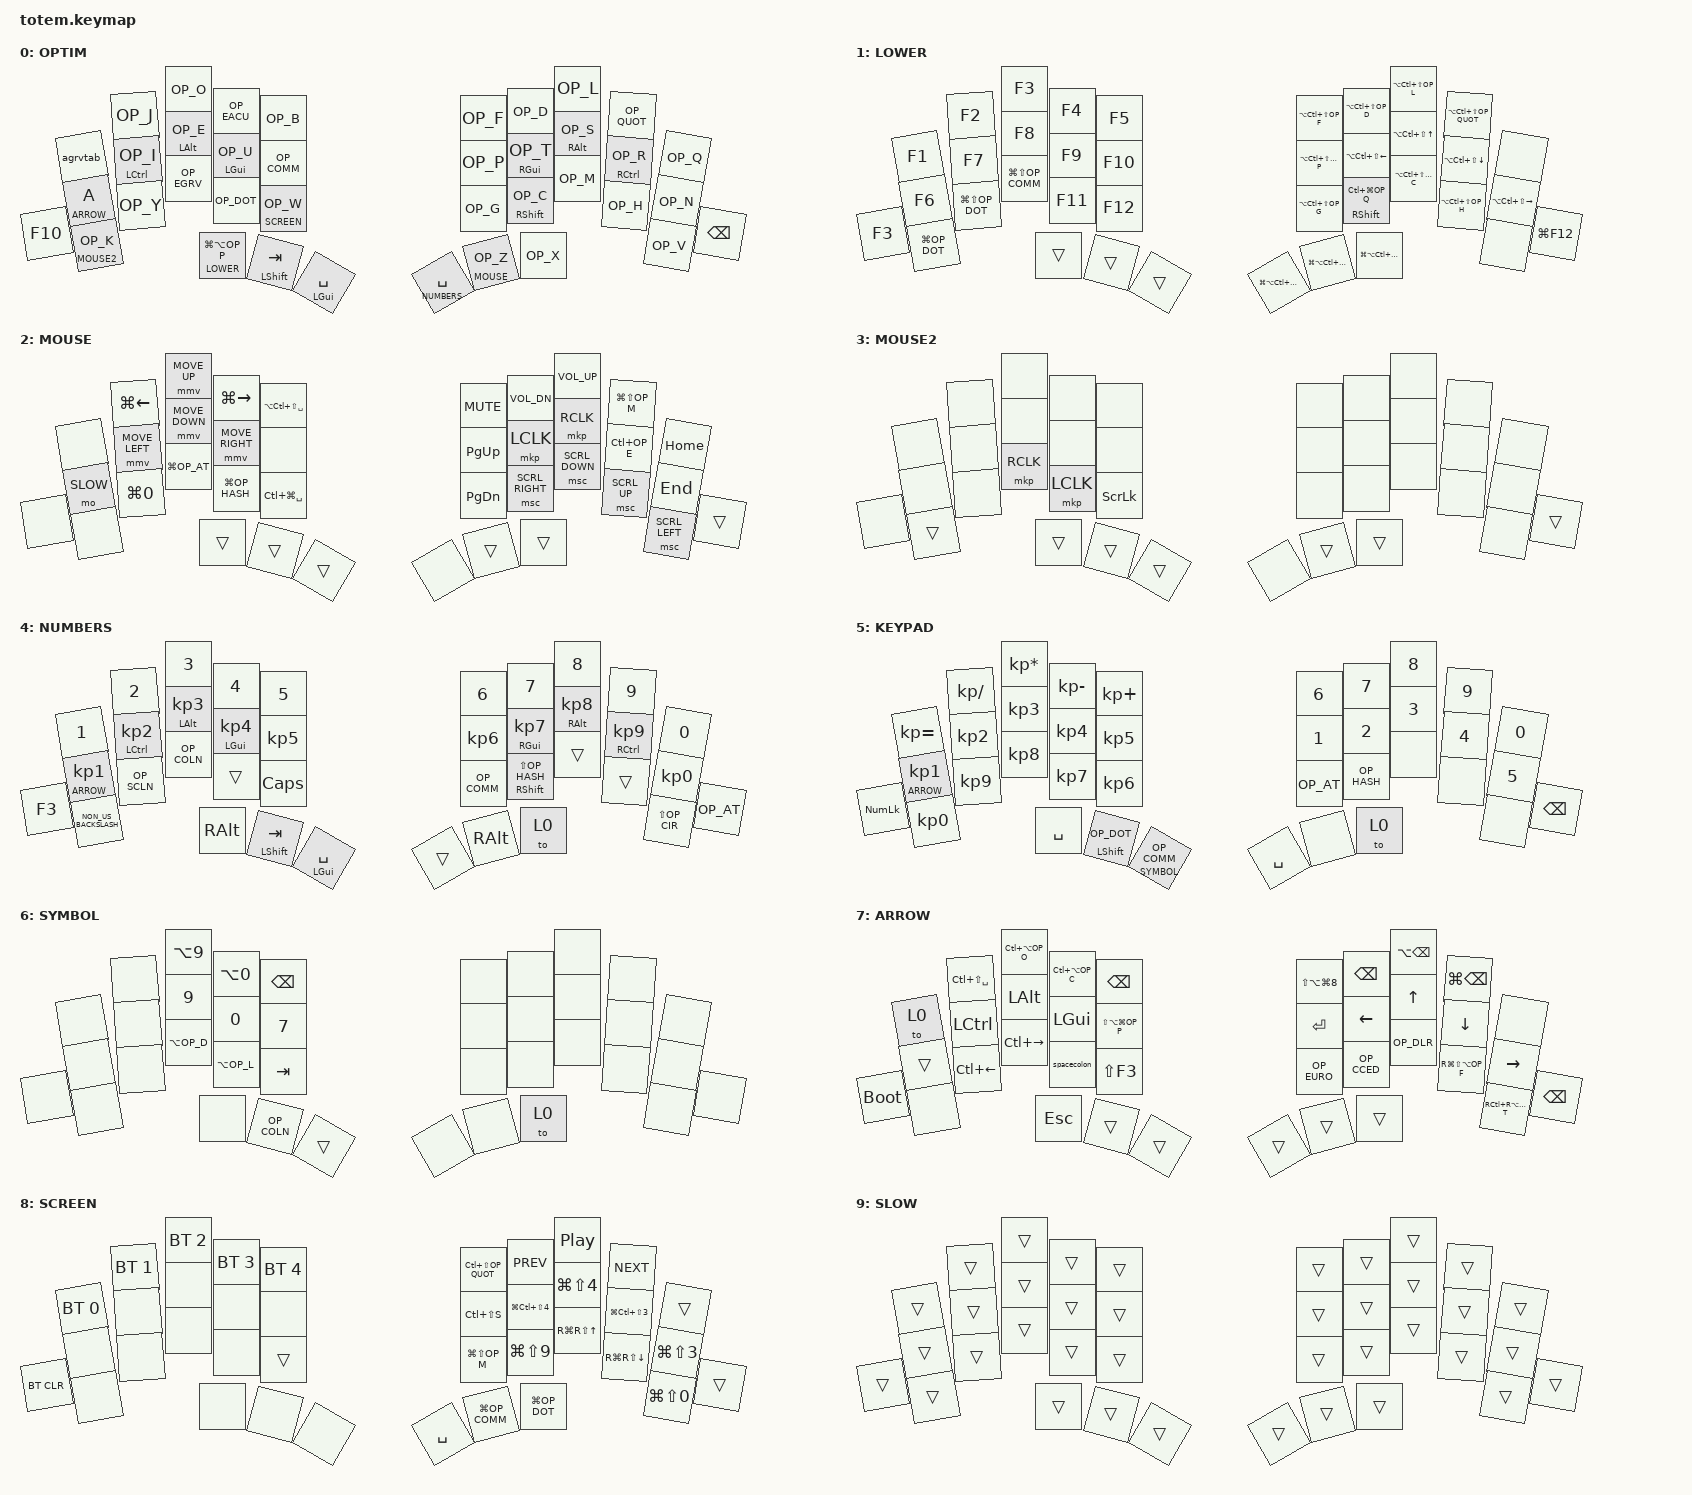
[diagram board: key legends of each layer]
//
//                                                        ▀▀▀▀▀     ▀▀▀▀▀          ▀▀█▀▀
//                                                        ▄▀▀▀▄  ▄  ▄▀▀▀▄  ▄  ▄▀▀▀▄  █  ▄▀▀▀▄
//                                                        █   █  █  █   █  █  █   █  █  █   █
//                                                         ▀▀▀   █   ▀▀▀   █   ▀▀▀   ▀   ▀▀▀
//                                                               █      ▄▄▄█▄▄▄    █   █  
//                                                               ▀      █  █  █     █▄█
//                                                             ▀▀▀▀▀    █  █  █      ▀
//                                                                      ▀  ▀  ▀
//
// ▄▄▄▄▄▄▄▄▄▄▄▄▄▄▄▄▄▄▄▄▄▄▄▄▄▄▄▄▄▄▄▄▄▄▄▄▄▄▄▄▄▄▄▄▄▄▄▄▄▄▄▄▄▄▄▄▄▄▄▄▄▄▄▄▄▄▄▄▄▄▄▄▄▄▄▄▄▄▄▄▄▄▄▄▄▄▄▄▄▄▄▄▄▄▄▄▄▄▄▄▄▄▄▄▄▄▄▄▄▄▄▄▄▄▄▄▄▄▄▄▄▄▄▄▄▄▄▄▄▄▄▄▄▄▄▄▄▄▄▄▄▄▄▄▄▄▄▄▄
       

#include <behaviors.dtsi>
#include <dt-bindings/zmk/keys.h>
#include <dt-bindings/zmk/bt.h>
#include <dt-bindings/zmk/outputs.h>
#include "mouse.dtsi"
#include <input/processors.dtsi>
#include "keymap_optimot.h"

//APPLICATIONS SHORCUTS
    //Omniplan
    #define OMNIPLIDENTR LG(LS(N0))
    #define OMNIPLIDENTL LG(LS(N9))
    //1Password
    #define ONEPWDQUICK LS(LA(LG(OP_P)))
    //Raycast
    #define CLIPB_HIST LG(LA(OP_P))
    #define RAYCPNAME  LG(OP_DOT)
    #define RAYCPPHONE LG(LS(OP_DOT))
    #define RAYCPMAIL  LG(LS(OP_COMM))
    #define NEWRAYNOTE LA(LG(LS(OP_N)))
    #define RAYEMOJI   LC(LG(SPACE))
    #define RAYSRCHAPPMENU LS(LA(LG(N8)))
    //Outlook
    #define OUTLKARCHMAIL LC(OP_E)
    #define OUTLKFILEMAIL LG(LS(OP_M))
    #define OUTLKNEWMAINWINDOW LA(LG(LS(OP_N)))
    //MS Office
    #define CASECYCLE LS(F3)
    //MS Teams
    #define TEAMSMUTE LG(LS(OP_M))
    //TextExpander
    #define TEXTEXOFF RC(RA(LS(RG(OP_T))))
    #define TEXTEXSEARCH RG(LS(LA(OP_F)))
    //Hook
    #define HOOKCPYLK   LG(LC(LA(SPACE)))
    #define HOOKCPYMDLK LS(LA(LG(SPACE)))
    #define HOOKTOLINK  LC(LS(LG(SPACE)))
    #define HOOK        LG(LS(SPACE))
    //MACOS
    #define HIDEWINDOW LG(OP_M)


#define OPTIM   0
#define LOWER   1
#define MOUSE   2
#define MOUSE2  3
#define NUMBERS 4
#define KEYPAD  5
#define SYMBOL  6
#define ARROW   7
#define SCREEN  8
#define SLOW    9  // maintenu depuis MOUSE : déplacements/défilement souris ralentis

// Mode précision : tant que le calque SLOW est actif, mouvements x1/4 et défilement x1/3
&mmv_input_listener {
    slow_move {
        layers = <SLOW>;
        input-processors = <&zip_xy_scaler 1 4>;
    };
};
&msc_input_listener {
    slow_scroll {
        layers = <SLOW>;
        input-processors = <&zip_scroll_scaler 1 3>;
    };
};


/*                KEY POSITIONS TOTEM

       ╭───────────────────╮ ╭────────────────────╮
       │ 0   1   2   3   4 │ │  5   6   7   8   9 │
  ╭────╯10  11  12  13  14 │ │ 15  16  17  18  19 ╰───╮
  │ 20  21  22  23  24  25 │ │ 26  27  28  29  30  31 │
  ╰──────────╮  32  33  34 │ │ 35  36  37 ╭───────────╯
             ╰─────────────╯ ╰────────────╯            */

// debounced, disabled for totem, to enable if necessary. Update 18/11/2024 : getting double letters with Ambiants switches, activating the debounce to mitigate.
&kscan0 { debounce-press-ms = <17>;
          debounce-release-ms = <17>;
        };

/ {
    macros {
//        q_minuscule: q_minuscule {
//            label = "ZM_q_minuscul";
//            compatible = "zmk,behavior-macro";
//            //wait-ms = <40>;
//            tap-ms = <40>;
//            #binding-cells = <0>;
//            bindings
//                = <&macro_tap &kp CAPS>
//                , <&macro_press &kp LSHFT>
//                , <&macro_tap &kp OP_Q>
//                , <&macro_release &kp LSHFT>
//                , <&macro_tap &kp CAPS>
//                ;
//        };
//        q_maj: q_maj {
//            label = "ZM_q_maj";
//            compatible = "zmk,behavior-macro";
//            //wait-ms = <40>;
//            tap-ms = <40>;
//            #binding-cells = <0>;
//            bindings
//                = <&macro_tap &kp CAPS>
//                , <&macro_tap &kp OP_Q>
//                , <&macro_tap &kp CAPS>
//                ;
//        };
        win_list: win_list {
            label = "Current App Window list in Contexts App";
            compatible = "zmk,behavior-macro";
            tap-ms = <40>;
            #binding-cells = <0>;
            bindings
                = <&macro_press &mo ARROW &kp LGUI>
                , <&macro_tap &kp OP_QUOT>
                , <&macro_pause_for_release>
                , <&macro_release &mo ARROW &kp LGUI>
                ;
        };
        apps_list: apps_list {
            label = "All Apps Window list in Contexts App";
            compatible = "zmk,behavior-macro";
            tap-ms = <40>;
            #binding-cells = <0>;
            bindings
                = <&macro_press &mo ARROW &kp LGUI>
                , <&macro_tap &kp TAB>
                , <&macro_pause_for_release>
                , <&macro_release &mo ARROW &kp LGUI>
                ;
        };
        spacecolon: spacecolon {
            label = "Espace insécable + :";
            compatible = "zmk,behavior-macro";
            tap-ms = <40>;
            #binding-cells = <0>;
            bindings
                = <&macro_press &kp LSHFT>
                , <&macro_tap &kp SPACE>
                , <&macro_tap &kp OP_DOT>
                , <&macro_tap &kp SPACE>
                , <&macro_release &kp LSHFT>
                ;
        };
    };
};

#include "combos.dtsi" // This include **has** to be made **after** the layers' and combo define, else it won't compile.
// #include "combos2.dtsi" // This include **has** to be made **after** the layers' and combo define, else it won't compile. 05/03/2025 disabled, had issues, and anyways it was not making the combo easier to use.


//Existing Behavior modifications :
//    &mt {
//    hold-while-undecided; //faster mod, used for CMD on left thumb key.
//    };

// Key position groups
#define KEYS_L 0 1 2 3 4 10 11 12 13 14 20 21 22 23 24 25 
#define KEYS_R 5 6 7 8 9 15 16 17 18 19 26 27 28 29 30 31  
#define KEYS_L_SPECIAL 0
#define THUMBS_L 32 33 34
#define THUMB_L_SPECIAL 33
#define THUMBS_R 35 36 37


/*                KEY POSITIONS TOTEM

       ╭───────────────────╮ ╭────────────────────╮
       │ 0   1   2   3   4 │ │  5   6   7   8   9 │
  ╭────╯10  11  12  13  14 │ │ 15  16  17  18  19 ╰───╮
  │ 20  21  22  23  24  25 │ │ 26  27  28  29  30  31 │
  ╰──────────╮  32  33  34 │ │ 35  36  37 ╭───────────╯
             ╰─────────────╯ ╰────────────╯            */


/ {
    behaviors {
        hml: homerow_mods_l {
            compatible = "zmk,behavior-hold-tap";
            label = "ALPHA_MT_L";
            #binding-cells = <2>;
            tapping-term-ms = <250>;
            quick-tap-ms = <150>;
            flavor = "tap-preferred";
            bindings = <&kp>, <&kp>;
            //global-quick-tap-ms = <150>;
            require-prior-idle-ms = <100>;
            hold-trigger-key-positions = <KEYS_R KEYS_L_SPECIAL THUMBS_R THUMB_L_SPECIAL>;
            hold-trigger-on-release;
        };
        hmr: homerow_mods_r {
            compatible = "zmk,behavior-hold-tap";
            label = "ALPHA_MT_R";
            #binding-cells = <2>;
            tapping-term-ms = <250>;
            quick-tap-ms = <150>;
            flavor = "tap-preferred";
            bindings = <&kp>, <&kp>;
            //global-quick-tap-ms = <150>;
            require-prior-idle-ms = <125>;
            hold-trigger-key-positions = <KEYS_L THUMBS_L>;
            hold-trigger-on-release;
        };
        hsl: homerow_shift_l {
            compatible = "zmk,behavior-hold-tap";
            label = "ALPHA_SFT_L";
            #binding-cells = <2>;
            tapping-term-ms = <200>;
            quick-tap-ms = <150>;
            flavor = "hold-preferred";
            bindings = <&kp>, <&kp>;
            hold-trigger-key-positions = <KEYS_R KEYS_L THUMBS_R>;
            //hold-trigger-on-release;
        };
        hsr: homerow_shift_r {
            compatible = "zmk,behavior-hold-tap";
            label = "ALPHA_SFT_R";
            #binding-cells = <2>;
            tapping-term-ms = <200>;
            quick-tap-ms = <100>;
            flavor = "tap-preferred";
            bindings = <&kp>, <&kp>;
            hold-trigger-key-positions = <KEYS_L THUMBS_L>;
        };   
        hlr: homerow_layer_r {
            compatible = "zmk,behavior-hold-tap";
            label = "HOMEROW_LAYER_R";
            #binding-cells = <2>;
            tapping-term-ms = <200>;
            quick-tap-ms = <150>;
            flavor = "tap-preferred";
            bindings = <&mo>, <&kp>;
            require-prior-idle-ms = <125>;
            hold-trigger-key-positions = <KEYS_L THUMBS_L>;
            hold-trigger-on-release;
        };
        hll: homerow_layer_l {
            compatible = "zmk,behavior-hold-tap";
            label = "HOMEROW_LAYER_L";
            #binding-cells = <2>;
            tapping-term-ms = <200>; // switched from 300 to 200, getting too much "af" instead of "@" (layer not triggered)
            quick-tap-ms = <150>; //trying to see what gives with 0 instead of 150 => not kept.
            flavor = "tap-preferred";
            bindings = <&mo>, <&kp>;
            require-prior-idle-ms = <125>;
            hold-trigger-key-positions = <KEYS_R THUMBS_L THUMBS_R>;
            hold-trigger-on-release;
        };
        agrvtab: agrave_tab {
            compatible = "zmk,behavior-mod-morph";
            #binding-cells = <0>;
            bindings = <&kp OP_AGRV>, <&kp TAB>;
            mods = <(MOD_LGUI|MOD_RGUI)>;
            keep-mods = <(MOD_LGUI|MOD_RGUI)>;
        };
    };



/*                KEY POSITIONS TOTEM

       ╭───────────────────╮ ╭────────────────────╮
       │ 0   1   2   3   4 │ │  5   6   7   8   9 │
  ╭────╯10  11  12  13  14 │ │ 15  16  17  18  19 ╰───╮
  │ 20  21  22  23  24  25 │ │ 26  27  28  29  30  31 │
  ╰──────────╮  32  33  34 │ │ 35  36  37 ╭───────────╯
             ╰─────────────╯ ╰────────────╯            */


        keymap {
                compatible = "zmk,keymap";
// ▄▄▄▄▄▄▄▄▄▄▄▄▄▄▄▄▄▄▄▄▄▄▄▄▄▄▄▄▄▄▄▄▄▄▄▄▄▄▄▄▄▄▄▄▄▄▄▄▄▄▄▄▄▄▄▄▄▄▄▄▄▄▄▄▄▄▄▄▄▄▄▄▄▄▄▄▄▄▄▄▄▄▄▄▄▄▄▄▄▄▄▄▄▄▄▄▄▄▄▄▄▄▄▄▄▄▄▄▄▄▄▄▄▄▄▄▄▄▄▄▄▄▄▄▄▄▄▄▄▄▄▄▄▄▄▄▄▄▄▄▄▄▄▄▄▄▄▄▄

                default_layer {
// ┏━━━━━━━━━━━━━━━━━━━━━━━━━━━━━━━━━━━━━━━┓
    display-name = "OPTIM"                 ;
// ┗━━━━━━━━━━━━━━━━━━━━━━━━━━━━━━━━━━━━━━━┛
//             ┏━━━━━━━━━━━┳━━━━━━━━━━━┳━━━━━━━━━━━┳━━━━━━━━━━━┳━━━━━━━━━━━┓   ┏━━━━━━━━━━━┳━━━━━━━━━━━┳━━━━━━━━━━━┳━━━━━━━━━━━┳━━━━━━━━━━━┓
//             ┃     Q     ┃     W     ┃     F     ┃     P     ┃     G     ┃   ┃     J     ┃     L     ┃     U     ┃     Y     ┃     ;     ┃
//             ┣━━━━━━━━━━━╋━━━━━━━━━━━╋━━━━━━━━━━━╋━━━━━━━━━━━╋━━━━━━━━━━━┫   ┣━━━━━━━━━━━╋━━━━━━━━━━━╋━━━━━━━━━━━╋━━━━━━━━━━━╋━━━━━━━━━━━┫
//             ┃     A     ┃     R     ┃     S     ┃     T     ┃     D     ┃   ┃     H     ┃     N     ┃     E     ┃     I     ┃     O     ┃
// ┏━━━━━━━━━━━╋━━━━━━━━━━━╋━━━━━━━━━━━╋━━━━━━━━━━━╋━━━━━━━━━━━╋━━━━━━━━━━━┫   ┣━━━━━━━━━━━╋━━━━━━━━━━━╋━━━━━━━━━━━╋━━━━━━━━━━━╋━━━━━━━━━━━╋━━━━━━━━━━━┓
// ┃     Q     ┃     Z     ┃     X     ┃     C     ┃     V     ┃     B     ┃   ┃     K     ┃     M     ┃     ,     ┃     .     ┃     /     ┃     \     ┃
// ┗━━━━━━━━━━━┻━━━━━━━━━━━┻━━━━━━━━━━━╋━━━━━━━━━━━╋━━━━━━━━━━━╋━━━━━━━━━━━┫   ┣━━━━━━━━━━━╋━━━━━━━━━━━╋━━━━━━━━━━━╋━━━━━━━━━━━┻━━━━━━━━━━━┻━━━━━━━━━━━┛
//                                     ┃    DEL    ┃    TAB    ┃    SPC    ┃   ┃   ENTER   ┃           ┃   BSPC    ┃
//                                     ┗━━━━━━━━━━━┻━━━━━━━━━━━┻━━━━━━━━━━━┛   ┗━━━━━━━━━━━┻━━━━━━━━━━━┻━━━━━━━━━━━┛
 bindings = <   
               &agrvtab         &kp OP_J        &kp OP_O             &kp OP_EACU    &kp OP_B                 &kp OP_F           &kp OP_D        &kp OP_L        &kp OP_QUOT     &kp OP_Q
               &hll ARROW A     &hml LCTRL OP_I &hml LALT OP_E       &hml LGUI OP_U &kp OP_COMM              &kp OP_P           &hmr RGUI OP_T  &hmr RALT OP_S  &hmr RCTRL OP_R &kp OP_N
    &kp F10    &hll MOUSE2 OP_K &kp OP_Y        &kp OP_EGRV          &kp OP_DOT     &hll SCREEN OP_W         &kp OP_G           &hsr RSHFT OP_C &kp OP_M        &kp OP_H        &kp OP_V &kp BSPC
                                                &lt LOWER CLIPB_HIST &hsl LSHFT TAB &mt LGUI SPACE           &hlr NUMBERS SPACE &hlr MOUSE OP_Z &kp OP_X
                        >;
                };

// ▄▄▄▄▄▄▄▄▄▄▄▄▄▄▄▄▄▄▄▄▄▄▄▄▄▄▄▄▄▄▄▄▄▄▄▄▄▄▄▄▄▄▄▄▄▄▄▄▄▄▄▄▄▄▄▄▄▄▄▄▄▄▄▄▄▄▄▄▄▄▄▄▄▄▄▄▄▄▄▄▄▄▄▄▄▄▄▄▄▄▄▄▄▄▄▄▄▄▄▄▄▄▄▄▄▄▄▄▄▄▄▄▄▄▄▄▄▄▄▄▄▄▄▄▄▄▄▄▄▄▄▄▄▄▄▄▄▄▄▄▄▄▄▄▄▄▄▄▄


                lower_layer {
// ┏━━━━━━━━━━━━━━━━━━━━━━━━━━━━━━━━━━━━━━━┓
    display-name = "LOWER"                 ;
// ┗━━━━━━━━━━━━━━━━━━━━━━━━━━━━━━━━━━━━━━━┛
//             ┏━━━━━━━━━━━┳━━━━━━━━━━━┳━━━━━━━━━━━┳━━━━━━━━━━━┳━━━━━━━━━━━┓   ┏━━━━━━━━━━━┳━━━━━━━━━━━┳━━━━━━━━━━━┳━━━━━━━━━━━┳━━━━━━━━━━━┓
//             ┃           ┃           ┃     UP    ┃           ┃     {     ┃   ┃     }     ┃     7     ┃     8     ┃     9     ┃     +     ┃
//             ┣━━━━━━━━━━━╋━━━━━━━━━━━╋━━━━━━━━━━━╋━━━━━━━━━━━╋━━━━━━━━━━━┫   ┣━━━━━━━━━━━╋━━━━━━━━━━━╋━━━━━━━━━━━╋━━━━━━━━━━━╋━━━━━━━━━━━┫
//             ┃   SHIFT   ┃   LEFT    ┃    DOWN   ┃   RIGHT   ┃     [     ┃   ┃     ]     ┃     4     ┃     5     ┃     6     ┃     -     ┃
// ┏━━━━━━━━━━━╋━━━━━━━━━━━╋━━━━━━━━━━━╋━━━━━━━━━━━╋━━━━━━━━━━━╋━━━━━━━━━━━┫   ┣━━━━━━━━━━━╋━━━━━━━━━━━╋━━━━━━━━━━━╋━━━━━━━━━━━╋━━━━━━━━━━━╋━━━━━━━━━━━┓
// ┃           ┃           ┃   P UP    ┃  C LOCK   ┃  P DOWN   ┃     (     ┃   ┃     )     ┃     1     ┃     2     ┃     3     ┃     *     ┃           ┃
// ┗━━━━━━━━━━━┻━━━━━━━━━━━┻━━━━━━━━━━━╋━━━━━━━━━━━╋━━━━━━━━━━━╋━━━━━━━━━━━┫   ┣━━━━━━━━━━━╋━━━━━━━━━━━╋━━━━━━━━━━━╋━━━━━━━━━━━┻━━━━━━━━━━━┻━━━━━━━━━━━┛
//                                     ┃           ┃    TAB    ┃    SPC    ┃   ┃    DEL    ┃     0     ┃           ┃
//                                     ┗━━━━━━━━━━━┻━━━━━━━━━━━┻━━━━━━━━━━━┛   ┗━━━━━━━━━━━┻━━━━━━━━━━━┻━━━━━━━━━━━┛
 bindings = <
        &kp F1        &kp F2         &kp F3        &kp F4      &kp F5               &kp LA(LC(LS(OP_F)))     &kp LA(LC(LS(OP_D)))     &kp LA(LC(LS(OP_L)))      &kp LA(LC(LS(OP_QUOT))) &none                 
        &kp F6        &kp F7         &kp F8        &kp F9      &kp F10              &kp LA(LC(LS(LG(OP_P)))) &kp LA(LC(LS(LEFT)))     &kp LA(LC(LS(UP)))        &kp LA(LC(LS(DOWN)))    &kp LA(LC(LS(RIGHT)))
&kp F3  &kp RAYCPNAME &kp RAYCPPHONE &kp RAYCPMAIL &kp F11     &kp F12              &kp LA(LC(LS(OP_G)))     &hsr RSHFT LC(LG(OP_Q))  &kp LA(LC(LS(LG(OP_C))))  &kp LA(LC(LS(OP_H)))    &none                 &kp LG(F12)
                                     &trans        &trans      &trans               &kp LG(LA(LC(LS(LEFT)))) &kp LG(LA(LC(LS(DOWN)))) &kp LG(LA(LC(LS(RIGHT)))) 
                        >;
                };

// ▄▄▄▄▄▄▄▄▄▄▄▄▄▄▄▄▄▄▄▄▄▄▄▄▄▄▄▄▄▄▄▄▄▄▄▄▄▄▄▄▄▄▄▄▄▄▄▄▄▄▄▄▄▄▄▄▄▄▄▄▄▄▄▄▄▄▄▄▄▄▄▄▄▄▄▄▄▄▄▄▄▄▄▄▄▄▄▄▄▄▄▄▄▄▄▄▄▄▄▄▄▄▄▄▄▄▄▄▄▄▄▄▄▄▄▄▄▄▄▄▄▄▄▄▄▄▄▄▄▄▄▄▄▄▄▄▄▄▄▄▄▄▄▄▄▄▄▄▄


                mouse_layer {
// ┏━━━━━━━━━━━━━━━━━━━━━━━━━━━━━━━━━━━━━━━┓
    display-name = "MOUSE"                 ;
// ┗━━━━━━━━━━━━━━━━━━━━━━━━━━━━━━━━━━━━━━━┛
//             ┏━━━━━━━━━━━┳━━━━━━━━━━━┳━━━━━━━━━━━┳━━━━━━━━━━━┳━━━━━━━━━━━┓   ┏━━━━━━━━━━━┳━━━━━━━━━━━┳━━━━━━━━━━━┳━━━━━━━━━━━┳━━━━━━━━━━━┓
//             ┃     !     ┃     @     ┃     #     ┃     $     ┃     %     ┃   ┃     ˆ     ┃     &     ┃     Ü     ┃     '     ┃     "     ┃
//             ┣━━━━━━━━━━━╋━━━━━━━━━━━╋━━━━━━━━━━━╋━━━━━━━━━━━╋━━━━━━━━━━━┫   ┣━━━━━━━━━━━╋━━━━━━━━━━━╋━━━━━━━━━━━╋━━━━━━━━━━━╋━━━━━━━━━━━┫
//             ┃     Ä     ┃           ┃    SZ     ┃           ┃           ┃   ┃   MUTE    ┃   YEN     ┃   EURO    ┃  POUND    ┃     Ö     ┃
// ┏━━━━━━━━━━━╋━━━━━━━━━━━╋━━━━━━━━━━━╋━━━━━━━━━━━╋━━━━━━━━━━━╋━━━━━━━━━━━┫   ┣━━━━━━━━━━━╋━━━━━━━━━━━╋━━━━━━━━━━━╋━━━━━━━━━━━╋━━━━━━━━━━━╋━━━━━━━━━━━┓
// ┃           ┃  EMAIL1   ┃  EMAIL2   ┃           ┃           ┃           ┃   ┃   VOL-    ┃   VOL+    ┃   LAST    ┃   NEXT    ┃     \     ┃           ┃
// ┗━━━━━━━━━━━┻━━━━━━━━━━━┻━━━━━━━━━━━╋━━━━━━━━━━━╋━━━━━━━━━━━╋━━━━━━━━━━━┫   ┣━━━━━━━━━━━╋━━━━━━━━━━━╋━━━━━━━━━━━╋━━━━━━━━━━━┻━━━━━━━━━━━┻━━━━━━━━━━━┛
//                                     ┃           ┃    GIF    ┃    ADJ    ┃   ┃           ┃           ┃           ┃
//                                     ┗━━━━━━━━━━━┻━━━━━━━━━━━┻━━━━━━━━━━━┛   ┗━━━━━━━━━━━┻━━━━━━━━━━━┻━━━━━━━━━━━┛
 bindings = <

                &none    &kp LG(LEFT)   &mmv MOVE_UP    &kp LG(RIGHT)   &kp LA(LC(LS(SPACE)))               &kp C_MUTE  &kp C_VOL_DN    &kp C_VOL_UP   &kp OUTLKFILEMAIL &kp HOME
                &mo SLOW &mmv MOVE_LEFT &mmv MOVE_DOWN  &mmv MOVE_RIGHT &none                               &kp PG_UP   &mkp LCLK       &mkp RCLK      &kp OUTLKARCHMAIL &kp END
&none           &none    &kp LG(N0)     &kp LG(OP_AT)   &kp LG(OP_HASH) &kp RAYEMOJI                        &kp PG_DN   &msc SCRL_RIGHT &msc SCRL_DOWN &msc SCRL_UP      &msc SCRL_LEFT &trans
                                        &trans          &trans          &trans                              &none       &trans          &trans
                        >;
                };
// ▄▄▄▄▄▄▄▄▄▄▄▄▄▄▄▄▄▄▄▄▄▄▄▄▄▄▄▄▄▄▄▄▄▄▄▄▄▄▄▄▄▄▄▄▄▄▄▄▄▄▄▄▄▄▄▄▄▄▄▄▄▄▄▄▄▄▄▄▄▄▄▄▄▄▄▄▄▄▄▄▄▄▄▄▄▄▄▄▄▄▄▄▄▄▄▄▄▄▄▄▄▄▄▄▄▄▄▄▄▄▄▄▄▄▄▄▄▄▄▄▄▄▄▄▄▄▄▄▄▄▄▄▄▄▄▄▄▄▄▄▄▄▄▄▄▄▄▄▄


                mouse_layer2 {
// ┏━━━━━━━━━━━━━━━━━━━━━━━━━━━━━━━━━━━━━━━┓
    display-name = "MOUSE2"                ;
// ┗━━━━━━━━━━━━━━━━━━━━━━━━━━━━━━━━━━━━━━━┛
//             ┏━━━━━━━━━━━┳━━━━━━━━━━━┳━━━━━━━━━━━┳━━━━━━━━━━━┳━━━━━━━━━━━┓   ┏━━━━━━━━━━━┳━━━━━━━━━━━┳━━━━━━━━━━━┳━━━━━━━━━━━┳━━━━━━━━━━━┓
//             ┃           ┃           ┃           ┃           ┃           ┃   ┃           ┃           ┃           ┃           ┃           ┃
//             ┣━━━━━━━━━━━╋━━━━━━━━━━━╋━━━━━━━━━━━╋━━━━━━━━━━━╋━━━━━━━━━━━┫   ┣━━━━━━━━━━━╋━━━━━━━━━━━╋━━━━━━━━━━━╋━━━━━━━━━━━╋━━━━━━━━━━━┫
//             ┃           ┃           ┃           ┃           ┃           ┃   ┃           ┃           ┃           ┃           ┃           ┃
// ┏━━━━━━━━━━━╋━━━━━━━━━━━╋━━━━━━━━━━━╋━━━━━━━━━━━╋━━━━━━━━━━━╋━━━━━━━━━━━┫   ┣━━━━━━━━━━━╋━━━━━━━━━━━╋━━━━━━━━━━━╋━━━━━━━━━━━╋━━━━━━━━━━━╋━━━━━━━━━━━┓
// ┃           ┃           ┃           ┃           ┃           ┃           ┃   ┃           ┃           ┃           ┃           ┃           ┃           ┃
// ┗━━━━━━━━━━━┻━━━━━━━━━━━┻━━━━━━━━━━━╋━━━━━━━━━━━╋━━━━━━━━━━━╋━━━━━━━━━━━┫   ┣━━━━━━━━━━━╋━━━━━━━━━━━╋━━━━━━━━━━━╋━━━━━━━━━━━┻━━━━━━━━━━━┻━━━━━━━━━━━┛
//                                     ┃           ┃           ┃           ┃   ┃           ┃           ┃           ┃
//                                     ┗━━━━━━━━━━━┻━━━━━━━━━━━┻━━━━━━━━━━━┛   ┗━━━━━━━━━━━┻━━━━━━━━━━━┻━━━━━━━━━━━┛
 bindings = <

                &none  &none &none     &none     &none                                 &none  &none  &none  &none &none
                &none  &none &none     &none     &none                                 &none  &none  &none  &none &none
&none           &trans &none &mkp RCLK &mkp LCLK &kp SCROLLLOCK                        &none  &none  &none  &none &none &trans
                             &trans    &trans    &trans                                &none  &trans &trans
                        >;
                };

// ▄▄▄▄▄▄▄▄▄▄▄▄▄▄▄▄▄▄▄▄▄▄▄▄▄▄▄▄▄▄▄▄▄▄▄▄▄▄▄▄▄▄▄▄▄▄▄▄▄▄▄▄▄▄▄▄▄▄▄▄▄▄▄▄▄▄▄▄▄▄▄▄▄▄▄▄▄▄▄▄▄▄▄▄▄▄▄▄▄▄▄▄▄▄▄▄▄▄▄▄▄▄▄▄▄▄▄▄▄▄▄▄▄▄▄▄▄▄▄▄▄▄▄▄▄▄▄▄▄▄▄▄▄▄▄▄▄▄▄▄▄▄▄▄▄▄▄▄▄


                numbers_layer {
// ┏━━━━━━━━━━━━━━━━━━━━━━━━━━━━━━━━━━━━━━━┓
    display-name = "NUMBERS"               ;
// ┗━━━━━━━━━━━━━━━━━━━━━━━━━━━━━━━━━━━━━━━┛
//             ┏━━━━━━━━━━━┳━━━━━━━━━━━┳━━━━━━━━━━━┳━━━━━━━━━━━┳━━━━━━━━━━━┓   ┏━━━━━━━━━━━┳━━━━━━━━━━━┳━━━━━━━━━━━┳━━━━━━━━━━━┳━━━━━━━━━━━┓
//             ┃   RESET   ┃ BT CLEAR  ┃  OUT TOG  ┃           ┃           ┃   ┃           ┃    F7     ┃    F8     ┃    F9     ┃    F12    ┃
//             ┣━━━━━━━━━━━╋━━━━━━━━━━━╋━━━━━━━━━━━╋━━━━━━━━━━━╋━━━━━━━━━━━┫   ┣━━━━━━━━━━━╋━━━━━━━━━━━╋━━━━━━━━━━━╋━━━━━━━━━━━╋━━━━━━━━━━━┫
//             ┃ BOOTLOAD  ┃ BT NEXT   ┃           ┃           ┃           ┃   ┃           ┃    F4     ┃    F5     ┃    F6     ┃    F11    ┃
// ┏━━━━━━━━━━━╋━━━━━━━━━━━╋━━━━━━━━━━━╋━━━━━━━━━━━╋━━━━━━━━━━━╋━━━━━━━━━━━┫   ┣━━━━━━━━━━━╋━━━━━━━━━━━╋━━━━━━━━━━━╋━━━━━━━━━━━╋━━━━━━━━━━━╋━━━━━━━━━━━┓
// ┃           ┃           ┃ BT PREV   ┃           ┃           ┃           ┃   ┃           ┃    F1     ┃    F2     ┃    F3     ┃    F10    ┃           ┃
// ┗━━━━━━━━━━━┻━━━━━━━━━━━┻━━━━━━━━━━━╋━━━━━━━━━━━╋━━━━━━━━━━━╋━━━━━━━━━━━┫   ┣━━━━━━━━━━━╋━━━━━━━━━━━╋━━━━━━━━━━━╋━━━━━━━━━━━┻━━━━━━━━━━━┻━━━━━━━━━━━┛
//                                     ┃           ┃           ┃           ┃   ┃           ┃           ┃           ┃
//                                     ┗━━━━━━━━━━━┻━━━━━━━━━━━┻━━━━━━━━━━━┛   ┗━━━━━━━━━━━┻━━━━━━━━━━━┻━━━━━━━━━━━┛
 bindings = <

        &kp N1               &kp N2           &kp N3          &kp N4          &kp N5                   &kp N6      &kp N7                 &kp N8          &kp N9           &kp N0    
        &hll ARROW KP_N1     &hml LCTRL KP_N2 &hml LALT KP_N3 &hml LGUI KP_N4 &kp KP_N5                &kp KP_N6   &hmr RGUI KP_N7        &hmr RALT KP_N8 &hmr RCTRL KP_N9 &kp KP_N0
&kp F3  &kp NON_US_BACKSLASH &kp OP_SCLN      &kp OP_COLN     &trans          &kp CAPS                 &kp OP_COMM &hsr RSHFT LS(OP_HASH) &trans          &trans           &kp LS(OP_CIR) &kp OP_AT
                                              &kp RALT        &hsl LSHFT TAB  &mt LGUI SPACE           &trans      &kp RALT               &to 0
                        >;
                };

// ▄▄▄▄▄▄▄▄▄▄▄▄▄▄▄▄▄▄▄▄▄▄▄▄▄▄▄▄▄▄▄▄▄▄▄▄▄▄▄▄▄▄▄▄▄▄▄▄▄▄▄▄▄▄▄▄▄▄▄▄▄▄▄▄▄▄▄▄▄▄▄▄▄▄▄▄▄▄▄▄▄▄▄▄▄▄▄▄▄▄▄▄▄▄▄▄▄▄▄▄▄▄▄▄▄▄▄▄▄▄▄▄▄▄▄▄▄▄▄▄▄▄▄▄▄▄▄▄▄▄▄▄▄▄▄▄▄▄▄▄▄▄▄▄▄▄▄▄▄


                keypad_layer {
// ┏━━━━━━━━━━━━━━━━━━━━━━━━━━━━━━━━━━━━━━━┓
    display-name = "KEYPAD"                ;
// ┗━━━━━━━━━━━━━━━━━━━━━━━━━━━━━━━━━━━━━━━┛
//             ┏━━━━━━━━━━━┳━━━━━━━━━━━┳━━━━━━━━━━━┳━━━━━━━━━━━┳━━━━━━━━━━━┓   ┏━━━━━━━━━━━┳━━━━━━━━━━━┳━━━━━━━━━━━┳━━━━━━━━━━━┳━━━━━━━━━━━┓
//             ┃           ┃           ┃           ┃           ┃           ┃   ┃           ┃    F7     ┃    F8     ┃    F9     ┃    F12    ┃
//             ┣━━━━━━━━━━━╋━━━━━━━━━━━╋━━━━━━━━━━━╋━━━━━━━━━━━╋━━━━━━━━━━━┫   ┣━━━━━━━━━━━╋━━━━━━━━━━━╋━━━━━━━━━━━╋━━━━━━━━━━━╋━━━━━━━━━━━┫
//             ┃           ┃           ┃           ┃           ┃           ┃   ┃           ┃    F4     ┃    F5     ┃    F6     ┃    F11    ┃
// ┏━━━━━━━━━━━╋━━━━━━━━━━━╋━━━━━━━━━━━╋━━━━━━━━━━━╋━━━━━━━━━━━╋━━━━━━━━━━━┫   ┣━━━━━━━━━━━╋━━━━━━━━━━━╋━━━━━━━━━━━╋━━━━━━━━━━━╋━━━━━━━━━━━╋━━━━━━━━━━━┓
// ┃           ┃           ┃           ┃           ┃           ┃           ┃   ┃           ┃    F1     ┃    F2     ┃    F3     ┃    F10    ┃           ┃
// ┗━━━━━━━━━━━┻━━━━━━━━━━━┻━━━━━━━━━━━╋━━━━━━━━━━━╋━━━━━━━━━━━╋━━━━━━━━━━━┫   ┣━━━━━━━━━━━╋━━━━━━━━━━━╋━━━━━━━━━━━╋━━━━━━━━━━━┻━━━━━━━━━━━┻━━━━━━━━━━━┛
//                                     ┃           ┃           ┃           ┃   ┃           ┃           ┃           ┃
//                                     ┗━━━━━━━━━━━┻━━━━━━━━━━━┻━━━━━━━━━━━┛   ┗━━━━━━━━━━━┻━━━━━━━━━━━┻━━━━━━━━━━━┛
 bindings = <

               &kp KP_EQUAL      &kp KP_SLASH     &kp KP_MULTIPLY  &kp KP_MINUS        &kp KP_PLUS                 &kp N6      &kp N7           &kp N8          &kp N9          &kp N0    
               &hll ARROW KP_N1  &kp KP_N2        &kp KP_N3        &kp KP_N4           &kp KP_N5                   &kp N1      &kp N2           &kp N3          &kp N4          &kp N5
&kp KP_NUMLOCK &kp KP_N0         &kp KP_N9        &kp KP_N8        &kp KP_N7           &kp KP_N6                   &kp OP_AT   &kp OP_HASH      &none           &none           &none  &kp BSPC
                                                  &kp SPACE        &hsl LSHFT OP_DOT   &lt SYMBOL OP_COMM          &kp SPACE &none &to 0
                        >;
                };

// ▄▄▄▄▄▄▄▄▄▄▄▄▄▄▄▄▄▄▄▄▄▄▄▄▄▄▄▄▄▄▄▄▄▄▄▄▄▄▄▄▄▄▄▄▄▄▄▄▄▄▄▄▄▄▄▄▄▄▄▄▄▄▄▄▄▄▄▄▄▄▄▄▄▄▄▄▄▄▄▄▄▄▄▄▄▄▄▄▄▄▄▄▄▄▄▄▄▄▄▄▄▄▄▄▄▄▄▄▄▄▄▄▄▄▄▄▄▄▄▄▄▄▄▄▄▄▄▄▄▄▄▄▄▄▄▄▄▄▄▄▄▄▄▄▄▄▄▄▄


                symbol_layer {
// ┏━━━━━━━━━━━━━━━━━━━━━━━━━━━━━━━━━━━━━━━┓
    display-name = "SYMBOL"                ;
// ┗━━━━━━━━━━━━━━━━━━━━━━━━━━━━━━━━━━━━━━━┛
//             ┏━━━━━━━━━━━┳━━━━━━━━━━━┳━━━━━━━━━━━┳━━━━━━━━━━━┳━━━━━━━━━━━┓   ┏━━━━━━━━━━━┳━━━━━━━━━━━┳━━━━━━━━━━━┳━━━━━━━━━━━┳━━━━━━━━━━━┓
//             ┃           ┃           ┃           ┃           ┃           ┃   ┃           ┃    F7     ┃    F8     ┃    F9     ┃    F12    ┃
//             ┣━━━━━━━━━━━╋━━━━━━━━━━━╋━━━━━━━━━━━╋━━━━━━━━━━━╋━━━━━━━━━━━┫   ┣━━━━━━━━━━━╋━━━━━━━━━━━╋━━━━━━━━━━━╋━━━━━━━━━━━╋━━━━━━━━━━━┫
//             ┃           ┃           ┃           ┃           ┃           ┃   ┃           ┃    F4     ┃    F5     ┃    F6     ┃    F11    ┃
// ┏━━━━━━━━━━━╋━━━━━━━━━━━╋━━━━━━━━━━━╋━━━━━━━━━━━╋━━━━━━━━━━━╋━━━━━━━━━━━┫   ┣━━━━━━━━━━━╋━━━━━━━━━━━╋━━━━━━━━━━━╋━━━━━━━━━━━╋━━━━━━━━━━━╋━━━━━━━━━━━┓
// ┃           ┃           ┃           ┃           ┃           ┃           ┃   ┃           ┃    F1     ┃    F2     ┃    F3     ┃    F10    ┃           ┃
// ┗━━━━━━━━━━━┻━━━━━━━━━━━┻━━━━━━━━━━━╋━━━━━━━━━━━╋━━━━━━━━━━━╋━━━━━━━━━━━┫   ┣━━━━━━━━━━━╋━━━━━━━━━━━╋━━━━━━━━━━━╋━━━━━━━━━━━┻━━━━━━━━━━━┻━━━━━━━━━━━┛
//                                     ┃           ┃           ┃           ┃   ┃           ┃           ┃           ┃
//                                     ┗━━━━━━━━━━━┻━━━━━━━━━━━┻━━━━━━━━━━━┛   ┗━━━━━━━━━━━┻━━━━━━━━━━━┻━━━━━━━━━━━┛
 bindings = <

      &none   &none  &kp LA(N9)   &kp LA(N0)   &kp BSPC                &none &none &none &none &none    
      &none   &none &kp N9       &kp N0       &kp N7                  &none &none &none &none &none
&none &none   &none &kp LA(OP_D) &kp LA(OP_L) &kp TAB                 &none &none &none &none &none &none
                    &none        &kp OP_COLN  &trans                  &none &none &to 0
                        >;
                };

// ▄▄▄▄▄▄▄▄▄▄▄▄▄▄▄▄▄▄▄▄▄▄▄▄▄▄▄▄▄▄▄▄▄▄▄▄▄▄▄▄▄▄▄▄▄▄▄▄▄▄▄▄▄▄▄▄▄▄▄▄▄▄▄▄▄▄▄▄▄▄▄▄▄▄▄▄▄▄▄▄▄▄▄▄▄▄▄▄▄▄▄▄▄▄▄▄▄▄▄▄▄▄▄▄▄▄▄▄▄▄▄▄▄▄▄▄▄▄▄▄▄▄▄▄▄▄▄▄▄▄▄▄▄▄▄▄▄▄▄▄▄▄▄▄▄▄▄▄▄


                arrow_layer {
// ┏━━━━━━━━━━━━━━━━━━━━━━━━━━━━━━━━━━━━━━━┓
    display-name = "ARROW"                 ;
// ┗━━━━━━━━━━━━━━━━━━━━━━━━━━━━━━━━━━━━━━━┛
//             ┏━━━━━━━━━━━┳━━━━━━━━━━━┳━━━━━━━━━━━┳━━━━━━━━━━━┳━━━━━━━━━━━┓   ┏━━━━━━━━━━━┳━━━━━━━━━━━┳━━━━━━━━━━━┳━━━━━━━━━━━┳━━━━━━━━━━━┓
//             ┃           ┃           ┃           ┃           ┃           ┃   ┃           ┃           ┃           ┃           ┃           ┃
//             ┣━━━━━━━━━━━╋━━━━━━━━━━━╋━━━━━━━━━━━╋━━━━━━━━━━━╋━━━━━━━━━━━┫   ┣━━━━━━━━━━━╋━━━━━━━━━━━╋━━━━━━━━━━━╋━━━━━━━━━━━╋━━━━━━━━━━━┫
//             ┃           ┃           ┃           ┃           ┃           ┃   ┃           ┃           ┃           ┃           ┃           ┃
// ┏━━━━━━━━━━━╋━━━━━━━━━━━╋━━━━━━━━━━━╋━━━━━━━━━━━╋━━━━━━━━━━━╋━━━━━━━━━━━┫   ┣━━━━━━━━━━━╋━━━━━━━━━━━╋━━━━━━━━━━━╋━━━━━━━━━━━╋━━━━━━━━━━━╋━━━━━━━━━━━┓
// ┃           ┃           ┃           ┃           ┃           ┃  M$CAPS   ┃   ┃           ┃           ┃           ┃           ┃           ┃           ┃
// ┗━━━━━━━━━━━┻━━━━━━━━━━━┻━━━━━━━━━━━╋━━━━━━━━━━━╋━━━━━━━━━━━╋━━━━━━━━━━━┫   ┣━━━━━━━━━━━╋━━━━━━━━━━━╋━━━━━━━━━━━╋━━━━━━━━━━━┻━━━━━━━━━━━┻━━━━━━━━━━━┛
//                                     ┃           ┃           ┃           ┃   ┃           ┃           ┃           ┃
//                                     ┗━━━━━━━━━━━┻━━━━━━━━━━━┻━━━━━━━━━━━┛   ┗━━━━━━━━━━━┻━━━━━━━━━━━┻━━━━━━━━━━━┛
 bindings = <

            &to 0  &kp LC(LS(SPACE)) &kp LC(LA(OP_O)) &kp LC(LA(OP_C)) &kp BSPC                  &kp RAYSRCHAPPMENU &kp BSPC    &kp LA(BSPC) &kp LG(BSPC)     &none
            &trans &kp LCTRL         &kp LALT         &kp LGUI         &kp ONEPWDQUICK           &kp RET            &kp LEFT    &kp UP       &kp DOWN         &kp RIGHT
&bootloader &none  &kp LC(LEFT)      &kp LC(RIGHT)    &spacecolon      &kp CASECYCLE             &kp OP_EURO        &kp OP_CCED &kp OP_DLR   &kp TEXTEXSEARCH &kp TEXTEXOFF &kp BSPC
                                     &kp ESC          &trans           &trans                    &trans             &trans      &trans 
                        >;
                };

// ▄▄▄▄▄▄▄▄▄▄▄▄▄▄▄▄▄▄▄▄▄▄▄▄▄▄▄▄▄▄▄▄▄▄▄▄▄▄▄▄▄▄▄▄▄▄▄▄▄▄▄▄▄▄▄▄▄▄▄▄▄▄▄▄▄▄▄▄▄▄▄▄▄▄▄▄▄▄▄▄▄▄▄▄▄▄▄▄▄▄▄▄▄▄▄▄▄▄▄▄▄▄▄▄▄▄▄▄▄▄▄▄▄▄▄▄▄▄▄▄▄▄▄▄▄▄▄▄▄▄▄▄▄▄▄▄▄▄▄▄▄▄▄▄▄▄▄▄▄


                screen_layer {
// ┏━━━━━━━━━━━━━━━━━━━━━━━━━━━━━━━━━━━━━━━┓
    display-name = "SCREEN"                ;
// ┗━━━━━━━━━━━━━━━━━━━━━━━━━━━━━━━━━━━━━━━┛
//             ┏━━━━━━━━━━━┳━━━━━━━━━━━┳━━━━━━━━━━━┳━━━━━━━━━━━┳━━━━━━━━━━━┓   ┏━━━━━━━━━━━┳━━━━━━━━━━━┳━━━━━━━━━━━┳━━━━━━━━━━━┳━━━━━━━━━━━┓
//             ┃ SOLO      ┃ TOGGLE IN ┃ RESET ROT ┃ TOGGLE OUT┃ TAKE SNAP ┃   ┃           ┃           ┃           ┃           ┃           ┃
//             ┣━━━━━━━━━━━╋━━━━━━━━━━━╋━━━━━━━━━━━╋━━━━━━━━━━━╋━━━━━━━━━━━┫   ┣━━━━━━━━━━━╋━━━━━━━━━━━╋━━━━━━━━━━━╋━━━━━━━━━━━╋━━━━━━━━━━━┫
//             ┃ ---       ┃ LAST KEY  ┃ NEW KEY   ┃ NEXT KEY  ┃ ENTER     ┃   ┃           ┃           ┃           ┃           ┃           ┃
// ┏━━━━━━━━━━━╋━━━━━━━━━━━╋━━━━━━━━━━━╋━━━━━━━━━━━╋━━━━━━━━━━━╋━━━━━━━━━━━┫   ┣━━━━━━━━━━━╋━━━━━━━━━━━╋━━━━━━━━━━━╋━━━━━━━━━━━╋━━━━━━━━━━━╋━━━━━━━━━━━┓
// ┃           ┃ FULLSCR   ┃ CPY2BRUSH ┃ DEL HEAD  ┃ PSTinPLACE┃ BOOK MARK ┃   ┃           ┃           ┃           ┃           ┃           ┃           ┃
// ┗━━━━━━━━━━━┻━━━━━━━━━━━┻━━━━━━━━━━━╋━━━━━━━━━━━╋━━━━━━━━━━━╋━━━━━━━━━━━┫   ┣━━━━━━━━━━━╋━━━━━━━━━━━╋━━━━━━━━━━━╋━━━━━━━━━━━┻━━━━━━━━━━━┻━━━━━━━━━━━┛
//                                     ┃           ┃ REDO/SAV1 ┃TRANS/WARP ┃   ┃           ┃           ┃           ┃
//                                     ┗━━━━━━━━━━━┻━━━━━━━━━━━┻━━━━━━━━━━━┛   ┗━━━━━━━━━━━┻━━━━━━━━━━━┻━━━━━━━━━━━┛
 bindings = <

           &bt BT_SEL 0 &bt BT_SEL 1 &bt BT_SEL 2 &bt BT_SEL 3 &bt BT_SEL 4          &kp LC(LS(OP_QUOT)) &kp C_PREV         &kp C_PP       &kp C_NEXT         &trans
           &none        &none        &none        &none        &none                 &kp LC(LS(S))       &kp LG(LC(LS(N4))) &kp LG(LS(N4)) &kp LG(LC(LS(N3))) &kp LG(LS(N3))
&bt BT_CLR &none        &none        &none        &none        &trans                &kp LG(LS(OP_M))    &kp LG(LS(N9))     &kp RG(RS(UP)) &kp RG(RS(DOWN))   &kp LG(LS(N0)) &trans
                                     &none        &none        &none                 &kp SPACE           &kp LG(OP_COMM)    &kp LG(OP_DOT)  
                        >;
                };
// ▄▄▄▄▄▄▄▄▄▄▄▄▄▄▄▄▄▄▄▄▄▄▄▄▄▄▄▄▄▄▄▄▄▄▄▄▄▄▄▄▄▄▄▄▄▄▄▄▄▄▄▄▄▄▄▄▄▄▄▄▄▄▄▄▄▄▄▄▄▄▄▄▄▄▄▄▄▄▄▄▄▄▄▄▄▄▄▄▄▄▄▄▄▄▄▄▄▄▄▄▄▄▄▄▄▄▄▄▄▄▄▄▄▄▄▄▄▄▄▄▄▄▄▄▄▄▄▄▄▄▄▄▄▄▄▄▄▄▄▄▄▄▄▄▄▄▄▄▄


                slow_layer {
// ┏━━━━━━━━━━━━━━━━━━━━━━━━━━━━━━━━━━━━━━━┓
    display-name = "SLOW"                  ;
// ┗━━━━━━━━━━━━━━━━━━━━━━━━━━━━━━━━━━━━━━━┛
// Calque entièrement transparent : il ne sert qu'à activer le ralentissement souris (voir &mmv_input_listener).
 bindings = <

         &trans &trans &trans &trans &trans                &trans &trans &trans &trans &trans
         &trans &trans &trans &trans &trans                &trans &trans &trans &trans &trans
  &trans &trans &trans &trans &trans &trans                &trans &trans &trans &trans &trans &trans
                       &trans &trans &trans                &trans &trans &trans
                        >;
                };
        };
};
